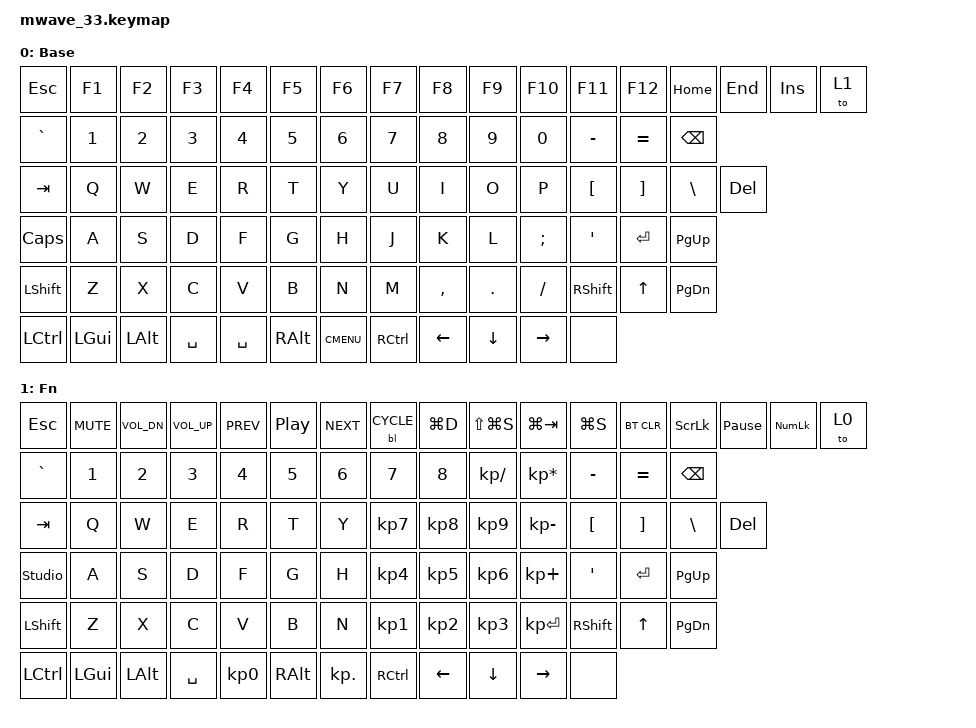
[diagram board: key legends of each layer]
#include <behaviors.dtsi>
#include <dt-bindings/zmk/backlight.h>
#include <dt-bindings/zmk/bt.h>
#include <dt-bindings/zmk/keys.h>
#include <dt-bindings/zmk/outputs.h>

/ {
    macros {
        ZMK_MACRO(usb_conn,
            wait-ms = <1>;
            tap-ms = <1>;
            bindings = <&out OUT_USB>;
        )
        ZMK_MACRO(ble_zero,
            wait-ms = <1>;
            tap-ms = <1>;
            bindings = <&out OUT_BLE &bt BT_SEL 0>;
        )
        ZMK_MACRO(ble_one,
            wait-ms = <1>;
            tap-ms = <1>;
            bindings = <&out OUT_BLE &bt BT_SEL 1>;
        )
    };

    endpoint_sideband_behaviors {
        auto-enable;
        compatible = "zmk,kscan-sideband-behaviors";
        kscan = <&kscan_sp3t_toggle>;

        first_toggle_sideband: first_toggle_sideband {
            column = <0>;
            bindings = <&usb_conn>;
        };

        second_toggle_sideband: second_toggle_sideband {
            column = <1>;
            bindings = <&ble_zero>;
        };

        third_toggle_sideband: third_toggle_sideband {
            column = <2>;
            bindings = <&ble_one>;
        };
    };

    keymap {
        compatible = "zmk,keymap";

        default_layer {
            display-name = "Base";

            // -------------------------------------------------------------------------------------------------------
            // | ESC | F1  | F2  | F3  | F4  | F5  | F6  | | F7  | F8  | F9  | F10 | F11 | F12 |HOME| END |PSCN|  1  |
            // |GRAVE|  1  |  2  |  3  |  4  |  5  |  6  | |   7   |  8  |  9  |  0  |  -  |  =  |    BKSP     | DEL |
            // | TAB    |  Q  |  W  |  E  |  R  |   T    | |   Y  |  U  |  I  |  O  |  P  |  [  |  ]  |   \    |     |
            // | CAPS     |  A  |  S  |  D  |  F  |  G   | |  H    |  J  |  K  |  L  |  ;  |  '  |    ENTER    | PGUP|
            // |   SHIFT   |  Z  |  X  |  C  |  V  |  B  | |    N    |  M  |  ,  |  .  |  /  |   SHIFT   | UP  | PGDN|
            // |  CTL  |  WIN  |  ALT  |      SPACE      | |      SPACE        | ALT | MENU |RCTRL| LEFT| DOWN |RIGHT|
            // -------------------------------------------------------------------------------------------------------

            bindings = <
&kp ESC    &kp F1    &kp F2    &kp F3     &kp F4     &kp F5    &kp F6       &kp F7     &kp F8     &kp F9    &kp F10    &kp F11    &kp F12    &kp HOME   &kp END  &kp INSERT  &to 1
&kp GRAVE  &kp N1    &kp N2    &kp N3     &kp N4     &kp N5    &kp N6       &kp N7     &kp N8     &kp N9    &kp N0     &kp MINUS  &kp EQUAL  &kp BSPC
&kp TAB    &kp Q     &kp W     &kp E      &kp R      &kp T     &kp Y        &kp U      &kp I      &kp O     &kp P      &kp LBKT   &kp RBKT   &kp BSLH   &kp DEL
&kp CLCK   &kp A     &kp S     &kp D      &kp F      &kp G     &kp H        &kp J      &kp K      &kp L     &kp SEMI   &kp SQT    &kp RET    &kp PG_UP
&kp LSHFT  &kp Z     &kp X     &kp C      &kp V      &kp B     &kp N        &kp M      &kp COMMA  &kp DOT   &kp FSLH   &kp RSHFT  &kp UP     &kp PG_DN
&kp LCTRL  &kp LGUI  &kp LALT  &kp SPACE  &kp SPACE  &kp RALT  &kp K_CMENU  &kp RCTRL  &kp LEFT   &kp DOWN  &kp RIGHT &none


            >;
        };

        raise {
            display-name = "Fn";
            bindings = <
&kp ESCAPE      &kp C_MUTE  &kp C_VOL_DN  &kp C_VOL_UP  &kp C_PREV  &kp C_PP  &kp C_NEXT  &bl BL_CYCLE  &kp LG(D)  &kp LS(LG(S))  &kp LG(TAB)      &kp LG(S)        &bt BT_CLR  &kp SCROLLLOCK  &kp PAUSE_BREAK  &kp KP_NUMLOCK  &to 0
&kp GRAVE       &kp N1      &kp N2        &kp N3        &kp N4      &kp N5    &kp N6      &kp N7        &kp N8     &kp KP_DIVIDE  &kp KP_MULTIPLY  &kp MINUS        &kp EQUAL   &kp BACKSPACE
&kp TAB         &kp Q       &kp W         &kp E         &kp R       &kp T     &kp Y       &kp KP_N7     &kp KP_N8  &kp KP_N9      &kp KP_MINUS     &kp LBKT   &kp RBKT   &kp BSLH            &kp DELETE
&studio_unlock  &kp A       &kp S         &kp D         &kp F       &kp G     &kp H       &kp KP_N4     &kp KP_N5  &kp KP_N6      &kp KP_PLUS      &kp SQT            &kp ENTER   &kp PAGE_UP
&kp LEFT_SHIFT  &kp Z       &kp X         &kp C         &kp V       &kp B     &kp N       &kp KP_N1     &kp KP_N2  &kp KP_N3      &kp KP_ENTER     &kp RIGHT_SHIFT  &kp UP      &kp PAGE_DOWN
&kp LCTRL       &kp LGUI    &kp LALT      &kp SPACE     &kp KP_N0   &kp RALT     &kp KP_DOT  &kp RCTRL         &kp LEFT   &kp DOWN       &kp RIGHT &none


            >;
        };

    };
};
